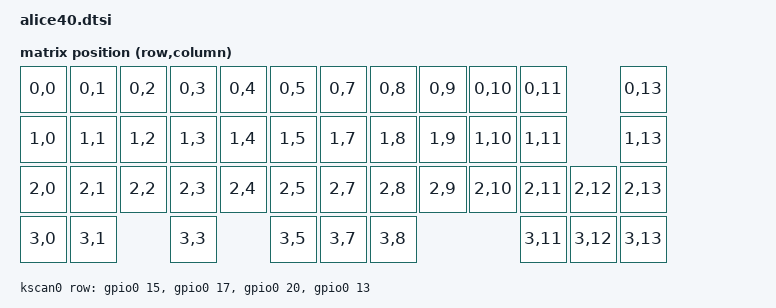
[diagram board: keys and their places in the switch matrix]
/*
 * Copyright (c) 2020 Pete Johanson
 *
 * SPDX-License-Identifier: MIT
 */

#include <dt-bindings/zmk/matrix_transform.h>

/ {
    chosen {
        zephyr,display = &oled;
        zmk,kscan = &kscan0;
        zmk,matrix_transform = &default_transform;
    };

    default_transform: keymap_transform_0 {
		compatible = "zmk,matrix-transform";
		// 行列数
		columns = <14>;
		rows = <4>;
		// 矩阵定义，从0开始， 空着的不写
		map = <
RC(0,0) RC(0,1) RC(0,2) RC(0,3) RC(0,4) RC(0,5)      RC(0,7) RC(0,8) RC(0,9) RC(0,10) RC(0,11)          RC(0,13)
RC(1,0) RC(1,1) RC(1,2) RC(1,3) RC(1,4) RC(1,5)      RC(1,7) RC(1,8) RC(1,9) RC(1,10) RC(1,11)          RC(1,13)
RC(2,0) RC(2,1) RC(2,2) RC(2,3) RC(2,4) RC(2,5)      RC(2,7) RC(2,8) RC(2,9) RC(2,10) RC(2,11) RC(2,12) RC(2,13)
RC(3,0) RC(3,1)			    RC(3,3)         RC(3,5)      RC(3,7) RC(3,8)                  RC(3,11) RC(3,12) RC(3,13)
		>;
	};

    kscan0: kscan {
		compatible = "zmk,kscan-gpio-matrix";
		label = "KSCAN";

		// 二极管方向
		diode-direction = "row2col";
		// 行引脚定义，规则在左手文件里（alice40_left.overlay）
		row-gpios
			= <&gpio0 15 GPIO_ACTIVE_HIGH>
			, <&gpio0 17 GPIO_ACTIVE_HIGH>
			, <&gpio0 20 GPIO_ACTIVE_HIGH>
			, <&gpio0 13 GPIO_ACTIVE_HIGH>
			;
	};
};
